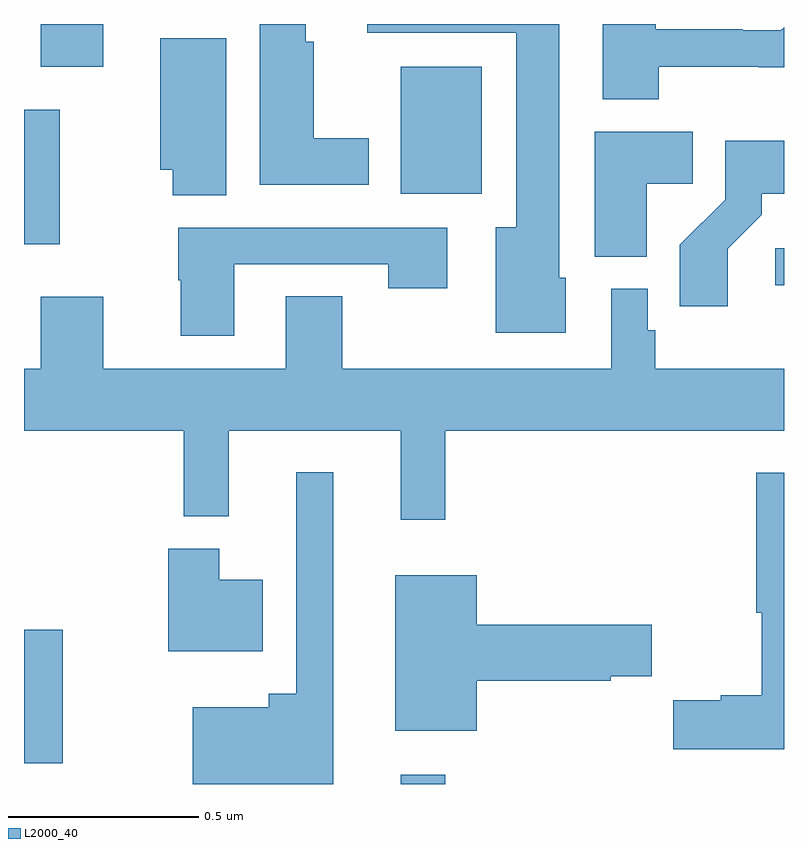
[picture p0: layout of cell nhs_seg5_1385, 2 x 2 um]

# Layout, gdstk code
import gdstk
lib = gdstk.Library(unit=1e-6, precision=1e-09)
def R(c, l, rs):  # rectangles x0, y0, x1, y1
    for r in rs: c.add(gdstk.rectangle(r[:2], r[2:], *l))
def P(c, l, *ps):  # polygons
    for p in ps: c.add(gdstk.Polygon(p, *l))
L2000_40 = (2000, 40)

nhs_seg5_1385 = lib.new_cell('nhs_seg5_1385')
R(nhs_seg5_1385, L2000_40, [(129.992,887.799,130.109,887.824), (129,887.853,129.102,888.205), (130.977,889.111,131,889.209), (129,889.22,129.094,889.573), (129.992,889.352,130.204,889.687), (129.044,889.686,129.208,889.799)])
P(nhs_seg5_1385, L2000_40, [(130.671,889.686),(130.934,889.686),(130.934,889.685),(131,889.685),(131,889.79),(130.992,889.782),(130.892,889.782),(130.892,889.785),(130.663,889.785),(130.663,889.799),(130.523,889.799),(130.523,889.601),(130.671,889.601)],
  [(129.907,889.498),(129.763,889.498),(129.763,889.752),(129.742,889.752),(129.742,889.799),(129.62,889.799),(129.62,889.376),(129.907,889.376)],
  [(130.426,889.131),(130.408,889.131),(130.408,889.799),(129.903,889.799),(129.903,889.776),(130.295,889.776),(130.295,889.264),(130.241,889.264),(130.241,888.986),(130.426,888.986)],
  [(129.532,889.762),(129.359,889.762),(129.359,889.415),(129.391,889.415),(129.391,889.348),(129.532,889.348)],
  [(130.639,889.378),(130.76,889.378),(130.76,889.516),(130.502,889.516),(130.502,889.187),(130.639,889.187)],
  [(130.852,889.207),(130.942,889.297),(130.942,889.352),(131,889.352),(131,889.492),(130.845,889.492),(130.845,889.337),(130.726,889.218),(130.726,889.056),(130.852,889.056)],
  [(129.553,889.167),(129.958,889.167),(129.958,889.104),(130.114,889.104),(130.114,889.263),(129.406,889.263),(129.406,889.125),(129.413,889.125),(129.413,888.978),(129.553,888.978)],
  [(130.109,888.728),(131,888.728),(131,888.892),(130.661,888.892),(130.661,888.993),(130.641,888.993),(130.641,889.102),(130.545,889.102),(130.545,888.892),(129.837,888.892),(129.837,889.082),(129.689,889.082),(129.689,888.892),(129.208,888.892),(129.208,889.081),(129.044,889.081),(129.044,888.892),(129,888.892),(129,888.728),(129.421,888.728),(129.421,888.503),(129.539,888.503),(129.539,888.728),(129.992,888.728),(129.992,888.495),(130.109,888.495)],
  [(129.814,888.619),(129.717,888.619),(129.717,888.037),(129.644,888.037),(129.644,888.001),(129.444,888.001),(129.444,887.799),(129.814,887.799)],
  [(131,888.618),(130.927,888.618),(130.927,888.25),(130.942,888.25),(130.942,888.032),(130.833,888.032),(130.833,888.019),(130.708,888.019),(130.708,887.89),(131,887.89)],
  [(129.628,888.337),(129.514,888.337),(129.514,888.418),(129.38,888.418),(129.38,888.149),(129.628,888.149)],
  [(130.192,888.071),(130.544,888.071),(130.544,888.083),(130.652,888.083),(130.652,888.218),(130.192,888.218),(130.192,888.349),(129.977,888.349),(129.977,887.939),(130.192,887.939)])

lib.write_gds('nhs_seg5_1385.gds')
